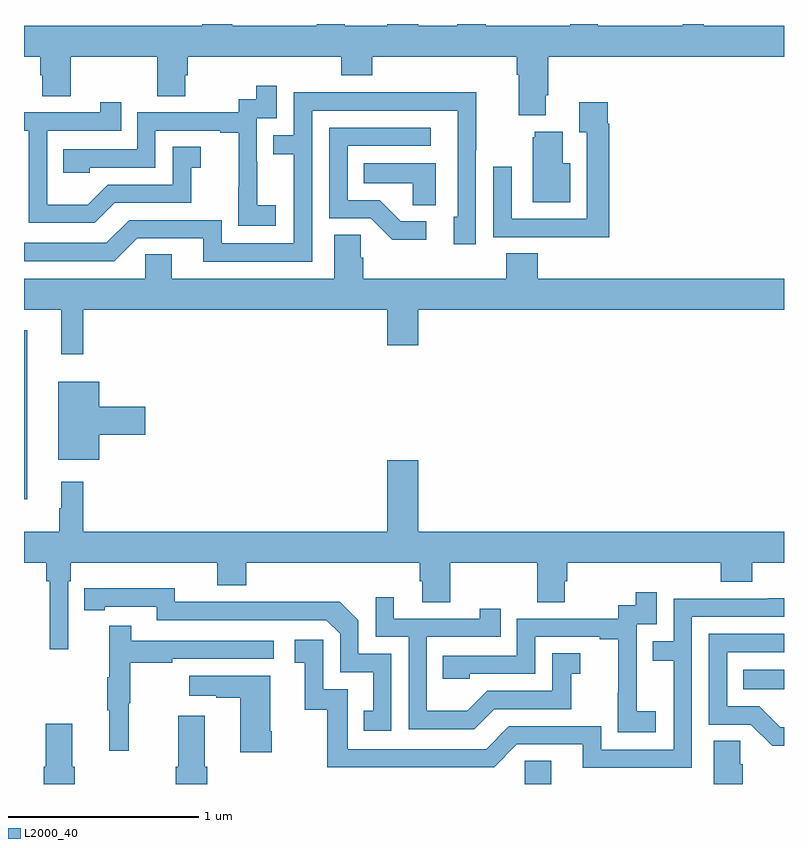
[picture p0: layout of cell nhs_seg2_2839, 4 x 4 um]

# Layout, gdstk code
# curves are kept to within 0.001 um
import gdstk
lib = gdstk.Library(unit=1e-6, precision=1e-09)
def R(c, l, rs):  # rectangles x0, y0, x1, y1
    for r in rs: c.add(gdstk.rectangle(r[:2], r[2:], *l))
def P(c, l, *ps):  # polygons
    for p in ps: c.add(gdstk.Polygon(p, *l))
L2000_40 = (2000, 40)

nhs_seg2_2839 = lib.new_cell('nhs_seg2_2839')
R(nhs_seg2_2839, L2000_40, [(261.636,651.8,261.775,651.923), (262.786,652.298,263,652.402), (259,653.3,259.018,654.187)])
P(nhs_seg2_2839, L2000_40, [(261.745,655.426),(261.758,655.426),(261.758,655.628),(263,655.628),(263,655.792),(262.577,655.792),(262.577,655.8),(262.466,655.8),(262.466,655.792),(262.021,655.792),(262.021,655.8),(261.874,655.8),(261.874,655.792),(261.429,655.792),(261.429,655.8),(261.281,655.8),(261.281,655.792),(261.076,655.792),(261.076,655.8),(260.912,655.8),(260.912,655.792),(260.689,655.792),(260.689,655.8),(260.541,655.8),(260.541,655.792),(260.097,655.792),(260.097,655.8),(259.937,655.8),(259.937,655.792),(259,655.792),(259,655.628),(259.085,655.628),(259.085,655.53),(259.097,655.53),(259.097,655.42),(259.245,655.42),(259.245,655.628),(259.702,655.628),(259.702,655.42),(259.849,655.42),(259.849,655.53),(259.862,655.53),(259.862,655.628),(260.669,655.628),(260.669,655.529),(260.834,655.529),(260.834,655.628),(261.593,655.628),(261.593,655.532),(261.605,655.532),(261.605,655.319),(261.745,655.319)],
  [(260.326,654.847),(260.228,654.847),(260.228,655.076),(260.226,655.076),(260.226,655.305),(260.331,655.305),(260.331,655.474),(260.223,655.474),(260.223,655.404),(260.13,655.404),(260.13,655.335),(259.596,655.335),(259.596,655.14),(259.207,655.14),(259.207,655.017),(259.347,655.017),(259.347,655.044),(259.692,655.044),(259.692,655.239),(260.033,655.239),(260.033,655.227),(260.129,655.227),(260.129,654.943),(260.128,654.943),(260.128,654.737),(260.326,654.737)],
  [(260.517,655.344),(261.282,655.344),(261.282,654.786),(261.263,654.786),(261.263,654.642),(261.378,654.642),(261.378,655.135),(261.381,655.135),(261.381,655.442),(260.917,655.442),(260.917,655.44),(260.421,655.44),(260.421,655.215),(260.311,655.215),(260.311,655.114),(260.421,655.114),(260.421,654.645),(260.04,654.645),(260.04,654.768),(259.554,654.768),(259.434,654.648),(259,654.648),(259,654.552),(259.476,654.552),(259.596,654.672),(259.943,654.672),(259.943,654.549),(260.517,654.549)],
  [(259.477,654.858),(259.881,654.858),(259.881,655.043),(259.93,655.043),(259.93,655.153),(259.782,655.153),(259.782,654.954),(259.44,654.954),(259.336,654.85),(259.122,654.85),(259.122,655.239),(259.511,655.239),(259.511,655.387),(259.4,655.387),(259.4,655.335),(259,655.335),(259,655.239),(259.026,655.239),(259.026,654.753),(259.372,654.753)],
  [(262.079,655.274),(262.072,655.274),(262.072,655.387),(261.923,655.387),(261.923,655.231),(261.963,655.231),(261.963,654.774),(261.567,654.774),(261.567,655.048),(261.471,655.048),(261.471,654.678),(261.787,654.678),(261.787,654.677),(262.079,654.677)],
  [(261.118,654.762),(260.983,654.762),(260.872,654.873),(260.703,654.873),(260.703,655.158),(261.142,655.158),(261.142,655.254),(260.607,655.254),(260.607,654.777),(260.826,654.777),(260.939,654.665),(261.118,654.665)],
  [(261.874,655.066),(261.835,655.066),(261.835,655.234),(261.689,655.234),(261.689,655.203),(261.677,655.203),(261.677,654.863),(261.874,654.863)],
  [(261.166,655.066),(260.788,655.066),(260.788,654.962),(261.045,654.962),(261.045,654.847),(261.166,654.847)],
  [(259.313,654.296),(260.912,654.296),(260.912,654.108),(261.076,654.108),(261.076,654.296),(263,654.296),(263,654.46),(261.704,654.46),(261.704,654.593),(261.539,654.593),(261.539,654.46),(260.786,654.46),(260.786,654.569),(260.772,654.569),(260.772,654.692),(260.633,654.692),(260.633,654.46),(259.777,654.46),(259.777,654.587),(259.638,654.587),(259.638,654.46),(259,654.46),(259,654.296),(259.196,654.296),(259.196,654.063),(259.313,654.063)],
  [(259.396,653.639),(259.639,653.639),(259.639,653.786),(259.396,653.786),(259.396,653.917),(259.181,653.917),(259.181,653.507),(259.396,653.507)],
  [(259.233,652.868),(259.247,652.868),(259.247,652.964),(260.018,652.964),(260.018,652.847),(260.171,652.847),(260.171,652.964),(261.083,652.964),(261.083,652.866),(261.095,652.866),(261.095,652.756),(261.243,652.756),(261.243,652.964),(261.7,652.964),(261.7,652.756),(261.847,652.756),(261.847,652.866),(261.86,652.866),(261.86,652.964),(262.667,652.964),(262.667,652.865),(262.832,652.865),(262.832,652.964),(263,652.964),(263,653.128),(261.076,653.128),(261.076,653.503),(260.912,653.503),(260.912,653.128),(259.313,653.128),(259.313,653.392),(259.196,653.392),(259.196,653.252),(259.185,653.252),(259.185,653.128),(259,653.128),(259,652.964),(259.117,652.964),(259.117,652.868),(259.136,652.868),(259.136,652.509),(259.233,652.509)],
  [(260.934,652.485),(260.76,652.485),(260.76,652.662),(260.662,652.76),(260.254,652.76),(260.254,652.758),(259.794,652.758),(259.794,652.831),(259.318,652.83),(259.318,652.714),(259.426,652.714),(259.426,652.734),(259.698,652.734),(259.698,652.662),(260.592,652.662),(260.664,652.59),(260.664,652.389),(260.837,652.389),(260.837,652.185),(260.788,652.185),(260.788,652.08),(260.934,652.08)],
  [(262.324,652.183),(262.226,652.183),(262.226,652.412),(262.224,652.412),(262.224,652.641),(262.329,652.641),(262.329,652.81),(262.221,652.81),(262.221,652.74),(262.128,652.74),(262.128,652.671),(261.594,652.671),(261.594,652.476),(261.205,652.476),(261.205,652.353),(261.345,652.353),(261.345,652.38),(261.69,652.38),(261.69,652.575),(262.031,652.575),(262.031,652.563),(262.127,652.563),(262.127,652.279),(262.126,652.279),(262.126,652.073),(262.324,652.073)],
  [(261.475,652.194),(261.879,652.194),(261.879,652.379),(261.928,652.379),(261.928,652.489),(261.78,652.489),(261.78,652.29),(261.438,652.29),(261.334,652.186),(261.12,652.186),(261.12,652.575),(261.509,652.575),(261.509,652.723),(261.398,652.723),(261.398,652.671),(260.947,652.671),(260.947,652.783),(260.85,652.783),(260.85,652.575),(261.024,652.575),(261.024,652.089),(261.37,652.089)],
  [(262.515,652.68),(263,652.68),(263,652.778),(262.915,652.778),(262.915,652.776),(262.419,652.776),(262.419,652.551),(262.309,652.551),(262.309,652.45),(262.419,652.45),(262.419,651.981),(262.038,651.981),(262.038,652.104),(261.552,652.104),(261.432,651.984),(260.703,651.984),(260.703,652.299),(260.574,652.299),(260.574,652.558),(260.424,652.558),(260.424,652.437),(260.477,652.437),(260.477,652.191),(260.595,652.191),(260.595,651.888),(261.474,651.888),(261.594,652.008),(261.941,652.008),(261.941,651.885),(262.515,651.885)],
  [(259.55,652.224),(259.558,652.224),(259.558,652.438),(259.781,652.438),(259.781,652.458),(260.314,652.458),(260.314,652.554),(259.565,652.554),(259.565,652.633),(259.448,652.633),(259.448,652.361),(259.437,652.361),(259.437,652.187),(259.448,652.187),(259.448,651.975),(259.55,651.975)],
  [(263,652.098),(262.981,652.098),(262.87,652.209),(262.701,652.209),(262.701,652.494),(263,652.494),(263,652.59),(262.605,652.59),(262.605,652.113),(262.824,652.113),(262.937,652.001),(263,652.001)],
  [(260.304,652.078),(260.296,652.078),(260.296,652.369),(259.869,652.369),(259.869,652.265),(260.012,652.265),(260.012,652.255),(260.138,652.255),(260.138,651.966),(260.304,651.966)],
  [(259.964,651.892),(259.951,651.892),(259.951,652.159),(259.811,652.159),(259.811,651.892),(259.799,651.892),(259.799,651.8),(259.964,651.8)],
  [(259.267,651.892),(259.255,651.892),(259.255,652.117),(259.115,652.117),(259.115,651.892),(259.103,651.892),(259.103,651.8),(259.267,651.8)],
  [(262.784,651.905),(262.77,651.905),(262.77,652.028),(262.631,652.028),(262.631,651.8),(262.784,651.8)])

lib.write_gds('nhs_seg2_2839.gds')
